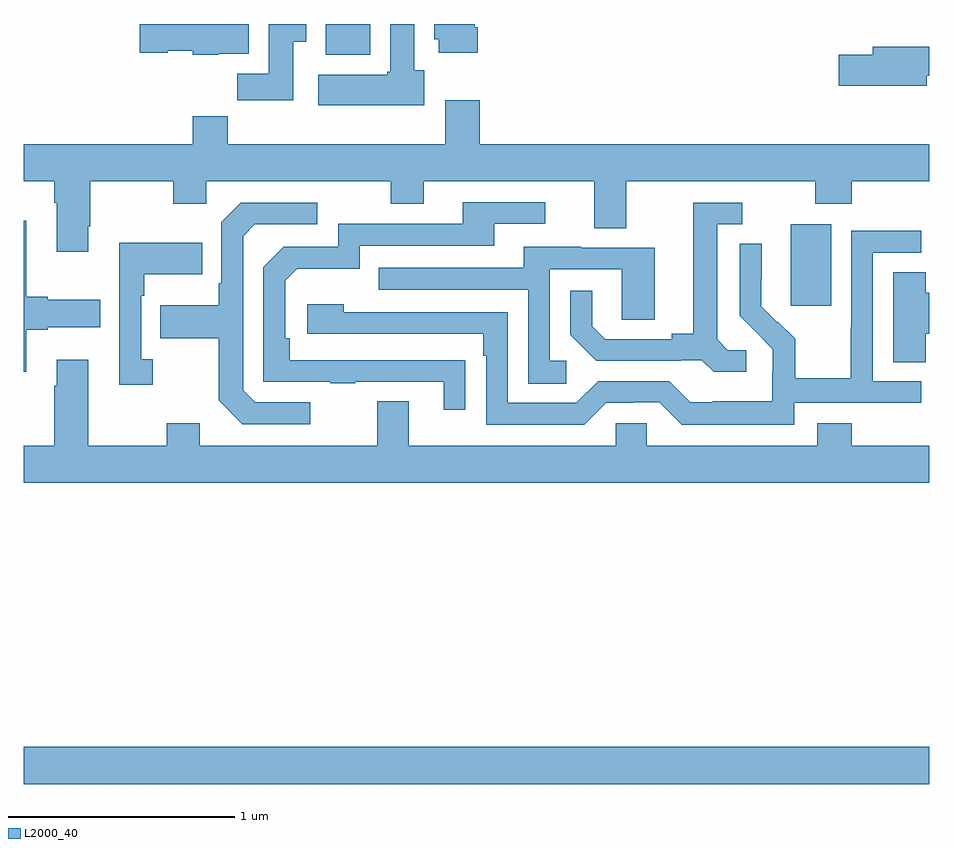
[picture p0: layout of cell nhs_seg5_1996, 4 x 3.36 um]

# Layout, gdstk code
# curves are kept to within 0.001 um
import gdstk
lib = gdstk.Library(unit=1e-6, precision=1e-09)
def R(c, l, rs):  # rectangles x0, y0, x1, y1
    for r in rs: c.add(gdstk.rectangle(r[:2], r[2:], *l))
def P(c, l, *ps):  # polygons
    for p in ps: c.add(gdstk.Polygon(p, *l))
L2000_40 = (2000, 40)

nhs_seg5_1996 = lib.new_cell('nhs_seg5_1996')
R(nhs_seg5_1996, L2000_40, [(229,843.44,233,843.604), (232.388,845.553,232.567,845.914), (230.333,846.662,230.53,846.799)])
P(nhs_seg5_1996, L2000_40, [(231.005,846.784),(230.992,846.784),(230.992,846.799),(230.813,846.799),(230.813,846.732),(230.834,846.732),(230.834,846.672),(231.005,846.672)],
  [(229.86,846.668),(229.993,846.668),(229.993,846.799),(229.512,846.799),(229.512,846.673),(229.635,846.673),(229.635,846.68),(229.746,846.68),(229.746,846.662),(229.86,846.662)],
  [(230.191,846.721),(230.248,846.721),(230.248,846.799),(230.081,846.799),(230.081,846.58),(229.942,846.58),(229.942,846.462),(230.191,846.462)],
  [(230.77,846.594),(230.725,846.594),(230.725,846.799),(230.618,846.799),(230.618,846.588),(230.605,846.588),(230.605,846.574),(230.301,846.574),(230.301,846.44),(230.77,846.44)],
  [(232.99,846.57),(233,846.57),(233,846.698),(232.751,846.698),(232.751,846.662),(232.602,846.662),(232.602,846.527),(232.99,846.527)],
  [(229.285,845.905),(229.293,845.905),(229.293,846.104),(229.66,846.104),(229.66,846.005),(229.806,846.005),(229.806,846.104),(230.62,846.104),(230.62,846.005),(230.767,846.005),(230.767,846.104),(231.521,846.104),(231.521,845.896),(231.661,845.896),(231.661,846.104),(232.498,846.104),(232.498,846.005),(232.658,846.005),(232.658,846.104),(233,846.104),(233,846.268),(231.014,846.268),(231.014,846.463),(230.861,846.463),(230.861,846.268),(229.901,846.268),(229.901,846.392),(229.745,846.392),(229.745,846.268),(229,846.268),(229,846.104),(229.133,846.104),(229.133,846.008),(229.145,846.008),(229.145,845.793),(229.285,845.793)],
  [(230.951,845.312),(230.174,845.313),(230.174,845.41),(230.154,845.41),(230.154,845.664),(230.207,845.717),(230.484,845.717),(230.484,845.82),(231.079,845.82),(231.079,845.916),(231.304,845.916),(231.304,846.012),(230.939,846.012),(230.939,845.916),(230.388,845.916),(230.388,845.814),(230.148,845.814),(230.058,845.724),(230.058,845.217),(230.353,845.217),(230.353,845.212),(230.465,845.212),(230.465,845.217),(230.855,845.217),(230.855,845.094),(230.951,845.094)],
  [(230.266,845.127),(230.022,845.127),(229.968,845.181),(229.968,845.862),(230.019,845.913),(230.296,845.913),(230.296,846.009),(229.959,846.009),(229.872,845.922),(229.872,845.653),(229.86,845.653),(229.86,845.557),(229.603,845.557),(229.603,845.41),(229.86,845.41),(229.86,845.137),(229.965,845.031),(230.266,845.031)],
  [(232.192,845.358),(232.11,845.358),(232.063,845.405),(232.063,845.913),(232.174,845.913),(232.174,846.009),(231.959,846.009),(231.959,845.429),(231.863,845.429),(231.863,845.406),(231.568,845.406),(231.511,845.463),(231.511,845.62),(231.414,845.62),(231.414,845.426),(231.53,845.31),(231.902,845.31),(231.902,845.313),(231.996,845.313),(232.048,845.261),(232.192,845.261)],
  [(229.009,845.447),(229.105,845.447),(229.105,845.459),(229.336,845.459),(229.336,845.581),(229.105,845.581),(229.105,845.594),(229.009,845.594),(229.009,845.929),(229,845.929),(229,845.262),(229.009,845.262)],
  [(232.404,845.124),(232.966,845.124),(232.966,845.22),(232.752,845.22),(232.752,845.787),(232.966,845.787),(232.966,845.886),(232.656,845.886),(232.656,845.456),(232.654,845.456),(232.654,845.233),(232.409,845.233),(232.409,845.407),(232.332,845.484),(232.329,845.481),(232.259,845.552),(232.26,845.828),(232.164,845.828),(232.164,845.51),(232.31,845.362),(232.31,845.265),(232.308,845.265),(232.308,845.131),(232.045,845.131),(232.045,845.127),(231.945,845.127),(231.852,845.22),(231.537,845.22),(231.441,845.124),(231.138,845.124),(231.138,845.526),(230.414,845.526),(230.414,845.56),(230.253,845.56),(230.253,845.43),(231.029,845.43),(231.029,845.333),(231.042,845.333),(231.042,845.028),(231.477,845.028),(231.573,845.124),(231.692,845.124),(231.692,845.127),(231.807,845.127),(231.907,845.027),(232.404,845.027)],
  [(229.57,845.318),(229.518,845.318),(229.518,845.597),(229.531,845.597),(229.531,845.693),(229.787,845.693),(229.787,845.833),(229.422,845.833),(229.422,845.205),(229.57,845.205)],
  [(231.397,845.31),(231.324,845.31),(231.324,845.715),(231.642,845.715),(231.642,845.491),(231.787,845.491),(231.787,845.811),(231.463,845.811),(231.463,845.815),(231.209,845.815),(231.209,845.721),(230.569,845.721),(230.569,845.625),(231.228,845.625),(231.228,845.209),(231.397,845.209)],
  [(232.985,845.429),(233,845.429),(233,845.612),(232.985,845.612),(232.985,845.702),(232.841,845.702),(232.841,845.305),(232.985,845.305)],
  [(233,844.936),(232.658,844.936),(232.658,845.035),(232.505,845.035),(232.505,844.936),(231.753,844.936),(231.753,845.034),(231.615,845.034),(231.615,844.936),(230.701,844.936),(230.701,845.131),(230.561,845.131),(230.561,844.936),(229.777,844.936),(229.777,845.035),(229.63,845.035),(229.63,844.936),(229.285,844.936),(229.285,845.314),(229.145,845.314),(229.145,845.201),(229.133,845.201),(229.133,844.936),(229,844.936),(229,844.772),(233,844.772)])

lib.write_gds('nhs_seg5_1996.gds')
